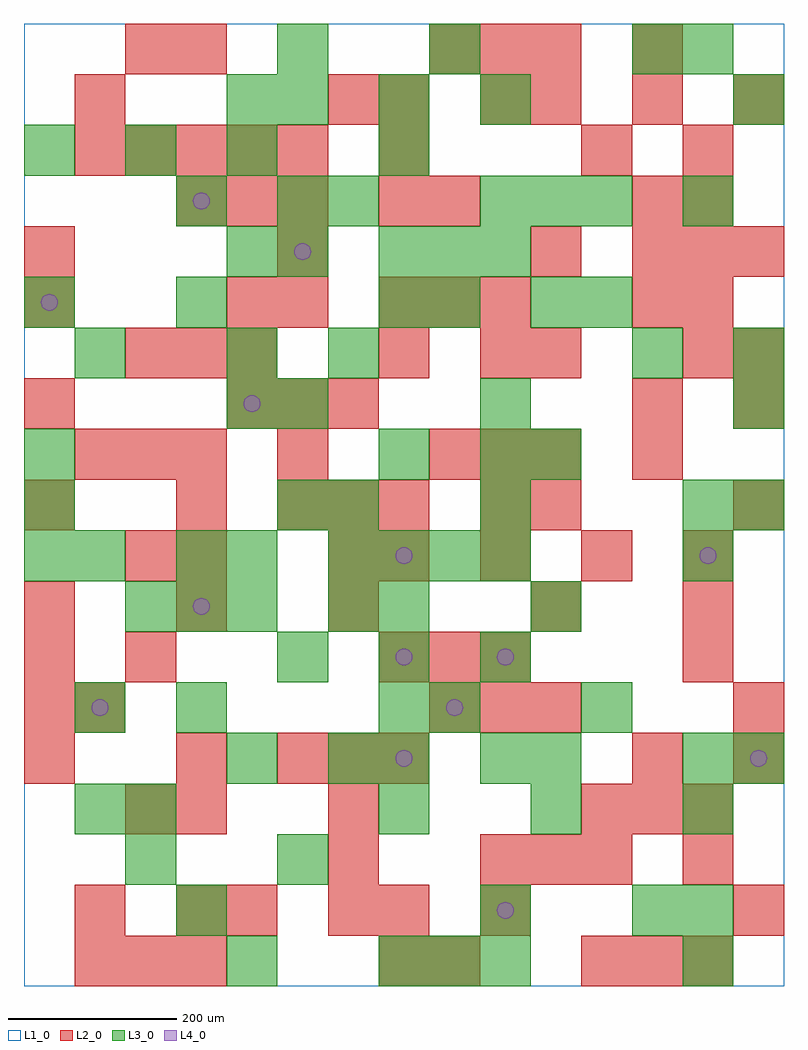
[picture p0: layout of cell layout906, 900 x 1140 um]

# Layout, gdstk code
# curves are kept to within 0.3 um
import gdstk
lib = gdstk.Library(unit=1e-6, precision=1e-09)
def R(c, l, rs):  # rectangles x0, y0, x1, y1
    for r in rs: c.add(gdstk.rectangle(r[:2], r[2:], *l))
def A(c, l, x, y, w, h, nx, ny, dx, dy):  # array of equal rectangles
    R(c, l, [(x+i*dx, y+j*dy, x+i*dx+w, y+j*dy+h) for i in range(nx) for j in range(ny)])
def P(c, l, *ps):  # polygons
    for p in ps: c.add(gdstk.Polygon(p, *l))
L1_0 = (1, 0)
L2_0 = (2, 0)
L3_0 = (3, 0)
L4_0 = (4, 0)

layout906 = lib.new_cell('layout906')
R(layout906, L1_0, [(0,0,900,1140)])
A(layout906, L2_0, 60, 0, 60, 60, 3, 2, 60, 600)
A(layout906, L2_0, 660, 0, 60, 60, 3, 2, 60, 180)
A(layout906, L2_0, 360, 60, 60, 60, 1, 3, 0, 60)
A(layout906, L2_0, 540, 120, 60, 60, 3, 1, 60, 0)
A(layout906, L2_0, 0, 240, 60, 60, 1, 3, 0, 60)
A(layout906, L2_0, 300, 240, 60, 60, 3, 2, 60, 300)
A(layout906, L2_0, 480, 300, 60, 60, 3, 2, 60, 300)
A(layout906, L2_0, 420, 360, 60, 60, 3, 2, 60, 420)
A(layout906, L2_0, 0, 420, 60, 60, 3, 1, 180, 0)
A(layout906, L2_0, 420, 480, 60, 60, 4, 1, 120, 0)
A(layout906, L2_0, 0, 540, 60, 60, 1, 3, 0, 120)
A(layout906, L2_0, 240, 660, 60, 60, 3, 1, 60, 0)
A(layout906, L2_0, 720, 660, 60, 60, 1, 3, 0, 120)
A(layout906, L2_0, 120, 720, 60, 60, 3, 1, 60, 0)
A(layout906, L2_0, 0, 840, 60, 60, 3, 1, 300, 0)
A(layout906, L2_0, 720, 840, 60, 60, 3, 1, 60, 0)
A(layout906, L2_0, 180, 900, 60, 60, 3, 1, 60, 0)
A(layout906, L2_0, 420, 900, 60, 60, 1, 3, 0, 60)
A(layout906, L2_0, 60, 960, 60, 60, 5, 1, 60, 0)
A(layout906, L2_0, 600, 1020, 60, 60, 3, 1, 120, 0)
A(layout906, L2_0, 480, 1080, 60, 60, 3, 1, 60, 0)
R(layout906, L2_0, [(420,0,480,60), (480,0,540,60), (60,60,120,120), (180,60,240,120), (240,60,300,120), (420,60,480,120), (540,60,600,120), (840,60,900,120), (780,120,840,180), (120,180,180,240), (180,180,240,240), (180,240,240,300), (720,240,780,300), (840,240,900,300), (60,300,120,360), (840,300,900,360), (120,360,180,420), (780,360,840,420), (600,420,660,480), (780,420,840,480), (120,480,180,540), (180,480,240,540), (360,480,420,540), (180,540,240,600), (540,540,600,600), (600,540,660,600), (840,540,900,600), (300,600,360,660), (720,600,780,660), (840,660,900,720), (420,720,480,780), (540,720,600,780), (600,720,660,780), (780,720,840,780), (840,720,900,780), (240,780,300,840), (300,780,360,840), (780,780,840,840), (480,900,540,960), (780,900,840,960), (660,960,720,1020), (780,960,840,1020), (60,1020,120,1080), (360,1020,420,1080), (540,1020,600,1080), (120,1080,180,1140), (180,1080,240,1140), (720,1080,780,1140)])
A(layout906, L3_0, 240, 0, 60, 60, 1, 3, 0, 240)
A(layout906, L3_0, 420, 0, 60, 60, 3, 2, 60, 840)
A(layout906, L3_0, 420, 180, 60, 60, 3, 1, 180, 0)
A(layout906, L3_0, 600, 240, 60, 60, 1, 4, 0, 180)
A(layout906, L3_0, 300, 360, 60, 60, 3, 2, 120, 660)
A(layout906, L3_0, 120, 420, 60, 60, 3, 1, 60, 0)
A(layout906, L3_0, 420, 420, 60, 60, 1, 4, 0, 180)
A(layout906, L3_0, 0, 480, 60, 60, 1, 3, 0, 60)
A(layout906, L3_0, 360, 480, 60, 60, 4, 1, 60, 0)
A(layout906, L3_0, 360, 540, 60, 60, 1, 3, 0, 180)
A(layout906, L3_0, 540, 540, 60, 60, 1, 3, 0, 60)
A(layout906, L3_0, 540, 900, 60, 60, 3, 1, 60, 0)
A(layout906, L3_0, 0, 960, 60, 60, 3, 1, 120, 0)
R(layout906, L3_0, [(780,0,840,60), (180,60,240,120), (540,60,600,120), (720,60,780,120), (780,60,840,120), (120,120,180,180), (300,120,360,180), (60,180,120,240), (120,180,180,240), (360,240,420,300), (420,240,480,300), (540,240,600,300), (780,240,840,300), (840,240,900,300), (60,300,120,360), (180,300,240,360), (420,300,480,360), (480,300,540,360), (660,300,720,360), (360,420,420,480), (60,480,120,540), (180,480,240,540), (780,480,840,540), (300,540,360,600), (780,540,840,600), (840,540,900,600), (240,660,300,720), (300,660,360,720), (840,660,900,720), (60,720,120,780), (240,720,300,780), (720,720,780,780), (840,720,900,780), (0,780,60,840), (180,780,240,840), (480,780,540,840), (660,780,720,840), (240,840,300,900), (300,840,360,900), (180,900,240,960), (300,900,360,960), (780,900,840,960), (240,1020,300,1080), (840,1020,900,1080), (300,1080,360,1140), (480,1080,540,1140), (720,1080,780,1140), (780,1080,840,1140)])
P(layout906, L4_0, [(40,810),(39.239,813.827),(37.071,817.071),(33.827,819.239),(30,820),(26.173,819.239),(22.929,817.071),(20.761,813.827),(20,810),(20.761,806.173),(22.929,802.929),(26.173,800.761),(30,800),(33.827,800.761),(37.071,802.929),(39.239,806.173)],
  [(100,330),(99.239,333.827),(97.071,337.071),(93.827,339.239),(90,340),(86.173,339.239),(82.929,337.071),(80.761,333.827),(80,330),(80.761,326.173),(82.929,322.929),(86.173,320.761),(90,320),(93.827,320.761),(97.071,322.929),(99.239,326.173)],
  [(220,450),(219.239,453.827),(217.071,457.071),(213.827,459.239),(210,460),(206.173,459.239),(202.929,457.071),(200.761,453.827),(200,450),(200.761,446.173),(202.929,442.929),(206.173,440.761),(210,440),(213.827,440.761),(217.071,442.929),(219.239,446.173)],
  [(220,930),(219.239,933.827),(217.071,937.071),(213.827,939.239),(210,940),(206.173,939.239),(202.929,937.071),(200.761,933.827),(200,930),(200.761,926.173),(202.929,922.929),(206.173,920.761),(210,920),(213.827,920.761),(217.071,922.929),(219.239,926.173)],
  [(280,690),(279.239,693.827),(277.071,697.071),(273.827,699.239),(270,700),(266.173,699.239),(262.929,697.071),(260.761,693.827),(260,690),(260.761,686.173),(262.929,682.929),(266.173,680.761),(270,680),(273.827,680.761),(277.071,682.929),(279.239,686.173)],
  [(340,870),(339.239,873.827),(337.071,877.071),(333.827,879.239),(330,880),(326.173,879.239),(322.929,877.071),(320.761,873.827),(320,870),(320.761,866.173),(322.929,862.929),(326.173,860.761),(330,860),(333.827,860.761),(337.071,862.929),(339.239,866.173)],
  [(460,270),(459.239,273.827),(457.071,277.071),(453.827,279.239),(450,280),(446.173,279.239),(442.929,277.071),(440.761,273.827),(440,270),(440.761,266.173),(442.929,262.929),(446.173,260.761),(450,260),(453.827,260.761),(457.071,262.929),(459.239,266.173)],
  [(460,390),(459.239,393.827),(457.071,397.071),(453.827,399.239),(450,400),(446.173,399.239),(442.929,397.071),(440.761,393.827),(440,390),(440.761,386.173),(442.929,382.929),(446.173,380.761),(450,380),(453.827,380.761),(457.071,382.929),(459.239,386.173)],
  [(460,510),(459.239,513.827),(457.071,517.071),(453.827,519.239),(450,520),(446.173,519.239),(442.929,517.071),(440.761,513.827),(440,510),(440.761,506.173),(442.929,502.929),(446.173,500.761),(450,500),(453.827,500.761),(457.071,502.929),(459.239,506.173)],
  [(520,330),(519.239,333.827),(517.071,337.071),(513.827,339.239),(510,340),(506.173,339.239),(502.929,337.071),(500.761,333.827),(500,330),(500.761,326.173),(502.929,322.929),(506.173,320.761),(510,320),(513.827,320.761),(517.071,322.929),(519.239,326.173)],
  [(580,90),(579.239,93.827),(577.071,97.071),(573.827,99.239),(570,100),(566.173,99.239),(562.929,97.071),(560.761,93.827),(560,90),(560.761,86.173),(562.929,82.929),(566.173,80.761),(570,80),(573.827,80.761),(577.071,82.929),(579.239,86.173)],
  [(580,390),(579.239,393.827),(577.071,397.071),(573.827,399.239),(570,400),(566.173,399.239),(562.929,397.071),(560.761,393.827),(560,390),(560.761,386.173),(562.929,382.929),(566.173,380.761),(570,380),(573.827,380.761),(577.071,382.929),(579.239,386.173)],
  [(820,510),(819.239,513.827),(817.071,517.071),(813.827,519.239),(810,520),(806.173,519.239),(802.929,517.071),(800.761,513.827),(800,510),(800.761,506.173),(802.929,502.929),(806.173,500.761),(810,500),(813.827,500.761),(817.071,502.929),(819.239,506.173)],
  [(880,270),(879.239,273.827),(877.071,277.071),(873.827,279.239),(870,280),(866.173,279.239),(862.929,277.071),(860.761,273.827),(860,270),(860.761,266.173),(862.929,262.929),(866.173,260.761),(870,260),(873.827,260.761),(877.071,262.929),(879.239,266.173)])

lib.write_gds('layout906.gds')
